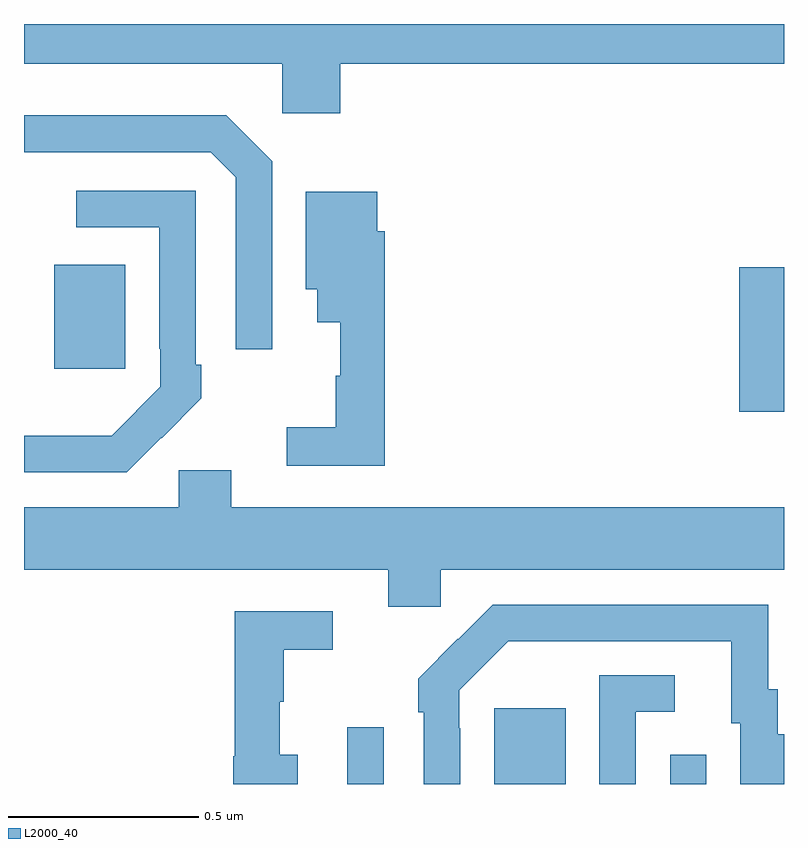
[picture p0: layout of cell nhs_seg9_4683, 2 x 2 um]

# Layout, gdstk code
import gdstk
lib = gdstk.Library(unit=1e-6, precision=1e-09)
def R(c, l, rs):  # rectangles x0, y0, x1, y1
    for r in rs: c.add(gdstk.rectangle(r[:2], r[2:], *l))
def P(c, l, *ps):  # polygons
    for p in ps: c.add(gdstk.Polygon(p, *l))
L2000_40 = (2000, 40)

nhs_seg9_4683 = lib.new_cell('nhs_seg9_4683')
R(nhs_seg9_4683, L2000_40, [(169.851,1218.5,169.947,1218.649), (170.237,1218.5,170.425,1218.7), (170.7,1218.5,170.796,1218.577), (170.882,1219.479,171,1219.86), (169.079,1219.593,169.267,1219.867)])
P(nhs_seg9_4683, L2000_40, [(169.832,1220.396),(171,1220.396),(171,1220.5),(169,1220.5),(169,1220.396),(169.68,1220.396),(169.68,1220.265),(169.832,1220.265)],
  [(169.653,1220.139),(169.532,1220.26),(169,1220.26),(169,1220.163),(169.491,1220.163),(169.557,1220.097),(169.557,1219.644),(169.653,1219.644)],
  [(169.361,1219.411),(169.362,1219.41),(169.467,1219.515),(169.467,1219.603),(169.452,1219.603),(169.452,1220.061),(169.137,1220.061),(169.137,1219.965),(169.356,1219.965),(169.356,1219.645),(169.359,1219.645),(169.359,1219.545),(169.231,1219.417),(169.127,1219.417),(169.127,1219.416),(169,1219.416),(169,1219.32),(169.27,1219.32)],
  [(169.949,1219.955),(169.93,1219.955),(169.93,1220.059),(169.742,1220.059),(169.742,1219.802),(169.772,1219.802),(169.772,1219.715),(169.832,1219.715),(169.832,1219.575),(169.821,1219.575),(169.821,1219.439),(169.692,1219.439),(169.692,1219.338),(169.949,1219.338)],
  [(170.097,1219.064),(171,1219.064),(171,1219.228),(169.546,1219.228),(169.546,1219.326),(169.407,1219.326),(169.407,1219.228),(169,1219.228),(169,1219.064),(169.958,1219.064),(169.958,1218.966),(170.097,1218.966)],
  [(170.148,1218.647),(170.145,1218.647),(170.145,1218.747),(170.274,1218.876),(170.861,1218.876),(170.861,1218.66),(170.885,1218.66),(170.885,1218.5),(171,1218.5),(171,1218.631),(170.983,1218.631),(170.983,1218.75),(170.958,1218.75),(170.958,1218.972),(170.234,1218.972),(170.143,1218.881),(170.142,1218.882),(170.037,1218.777),(170.037,1218.689),(170.052,1218.689),(170.052,1218.5),(170.148,1218.5)],
  [(169.72,1218.577),(169.673,1218.577),(169.673,1218.717),(169.684,1218.717),(169.684,1218.853),(169.813,1218.853),(169.813,1218.954),(169.555,1218.954),(169.555,1218.573),(169.55,1218.573),(169.55,1218.5),(169.72,1218.5)],
  [(170.61,1218.69),(170.713,1218.69),(170.713,1218.786),(170.514,1218.786),(170.514,1218.5),(170.61,1218.5)])

lib.write_gds('nhs_seg9_4683.gds')
